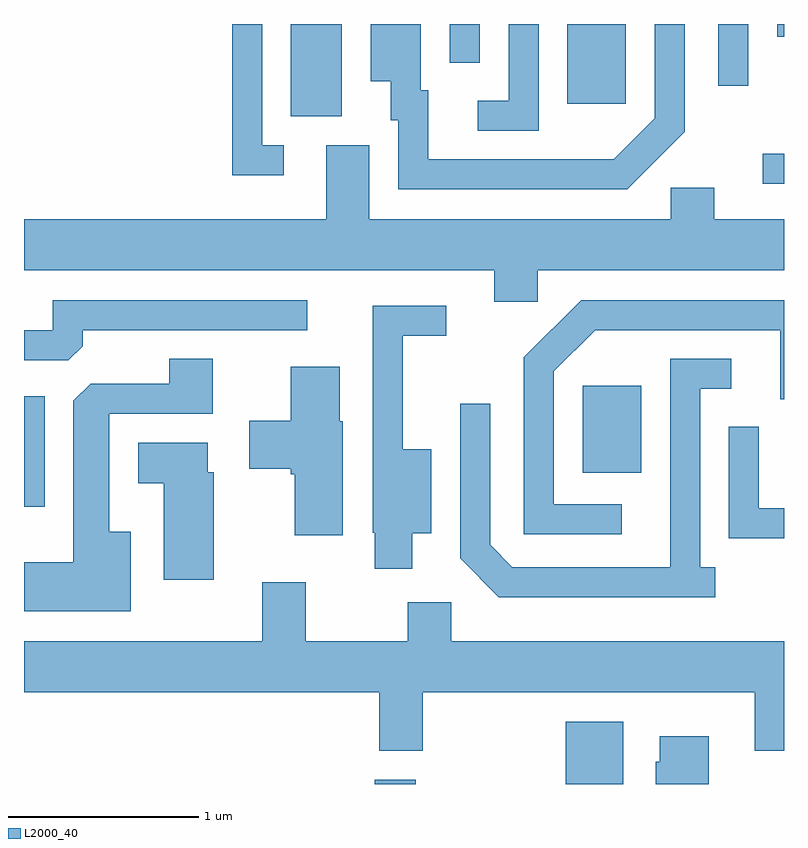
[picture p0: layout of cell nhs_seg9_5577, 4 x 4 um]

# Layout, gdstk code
import gdstk
lib = gdstk.Library(unit=1e-6, precision=1e-09)
def R(c, l, rs):  # rectangles x0, y0, x1, y1
    for r in rs: c.add(gdstk.rectangle(r[:2], r[2:], *l))
def P(c, l, *ps):  # polygons
    for p in ps: c.add(gdstk.Polygon(p, *l))
L2000_40 = (2000, 40)

nhs_seg9_5577 = lib.new_cell('nhs_seg9_5577')
R(nhs_seg9_5577, L2000_40, [(351.456,2002.432,351.674,2002.454), (352.461,2002.432,352.764,2002.759), (349.611,2003.891,349.719,2004.474), (352.551,2004.071,352.859,2004.529), (353.498,2005.591,353.611,2005.749), (351.016,2005.946,351.284,2006.432), (352.471,2006.011,352.779,2006.432), (353.266,2006.108,353.424,2006.432), (351.851,2006.228,352.009,2006.432), (353.576,2006.366,353.611,2006.432)])
P(nhs_seg9_5577, L2000_40, [(350.978,2005.794),(350.864,2005.794),(350.864,2006.432),(350.706,2006.432),(350.706,2005.636),(350.978,2005.636)],
  [(353.089,2005.864),(353.089,2006.432),(352.931,2006.432),(352.931,2005.937),(352.714,2005.719),(351.739,2005.719),(351.739,2006.084),(351.699,2006.084),(351.699,2006.432),(351.436,2006.432),(351.436,2006.131),(351.541,2006.131),(351.541,2005.926),(351.581,2005.926),(351.581,2005.561),(352.787,2005.561)],
  [(352.319,2006.432),(352.161,2006.432),(352.161,2006.029),(351.998,2006.029),(351.998,2005.871),(352.319,2005.871)],
  [(352.314,2005.136),(353.611,2005.136),(353.611,2005.404),(353.244,2005.404),(353.244,2005.569),(353.016,2005.569),(353.016,2005.404),(351.429,2005.404),(351.429,2005.794),(351.201,2005.794),(351.201,2005.404),(349.611,2005.404),(349.611,2005.136),(352.086,2005.136),(352.086,2004.971),(352.314,2004.971)],
  [(352.758,2003.904),(352.399,2003.904),(352.399,2004.604),(352.617,2004.821),(353.591,2004.821),(353.591,2004.456),(353.611,2004.456),(353.611,2004.979),(352.544,2004.979),(352.241,2004.677),(352.241,2003.746),(352.758,2003.746)],
  [(349.919,2004.737),(349.919,2004.821),(351.103,2004.821),(351.103,2004.979),(349.761,2004.979),(349.761,2004.819),(349.611,2004.819),(349.611,2004.661),(349.844,2004.661)],
  [(351.654,2003.751),(351.754,2003.751),(351.754,2004.194),(351.604,2004.194),(351.604,2004.791),(351.833,2004.791),(351.833,2004.949),(351.446,2004.949),(351.446,2003.755),(351.456,2003.755),(351.456,2003.566),(351.654,2003.566)],
  [(350.174,2003.759),(350.059,2003.759),(350.059,2004.381),(350.604,2004.381),(350.604,2004.669),(350.376,2004.669),(350.376,2004.539),(349.962,2004.539),(349.871,2004.449),(349.871,2003.599),(349.611,2003.599),(349.611,2003.341),(350.174,2003.341)],
  [(353.248,2003.574),(353.169,2003.574),(353.169,2004.511),(353.333,2004.511),(353.333,2004.669),(353.011,2004.669),(353.011,2003.574),(352.182,2003.574),(352.064,2003.692),(352.064,2004.433),(351.906,2004.433),(351.906,2003.619),(352.109,2003.416),(353.248,2003.416)],
  [(351.289,2004.34),(351.274,2004.34),(351.274,2004.629),(351.016,2004.629),(351.016,2004.344),(350.796,2004.344),(350.796,2004.091),(351.016,2004.091),(351.016,2004.061),(351.036,2004.061),(351.036,2003.741),(351.289,2003.741)],
  [(353.611,2003.884),(353.479,2003.884),(353.479,2004.313),(353.321,2004.313),(353.321,2003.726),(353.611,2003.726)],
  [(350.609,2004.074),(350.579,2004.074),(350.579,2004.229),(350.211,2004.229),(350.211,2004.016),(350.346,2004.016),(350.346,2003.506),(350.609,2003.506)],
  [(351.709,2002.916),(353.456,2002.916),(353.456,2002.606),(353.611,2002.606),(353.611,2003.184),(351.859,2003.184),(351.859,2003.389),(351.631,2003.389),(351.631,2003.184),(351.094,2003.184),(351.094,2003.494),(350.866,2003.494),(350.866,2003.184),(349.611,2003.184),(349.611,2002.916),(351.481,2002.916),(351.481,2002.606),(351.709,2002.606)],
  [(353.214,2002.684),(352.956,2002.684),(352.956,2002.549),(352.936,2002.549),(352.936,2002.432),(353.214,2002.432)])

lib.write_gds('nhs_seg9_5577.gds')
